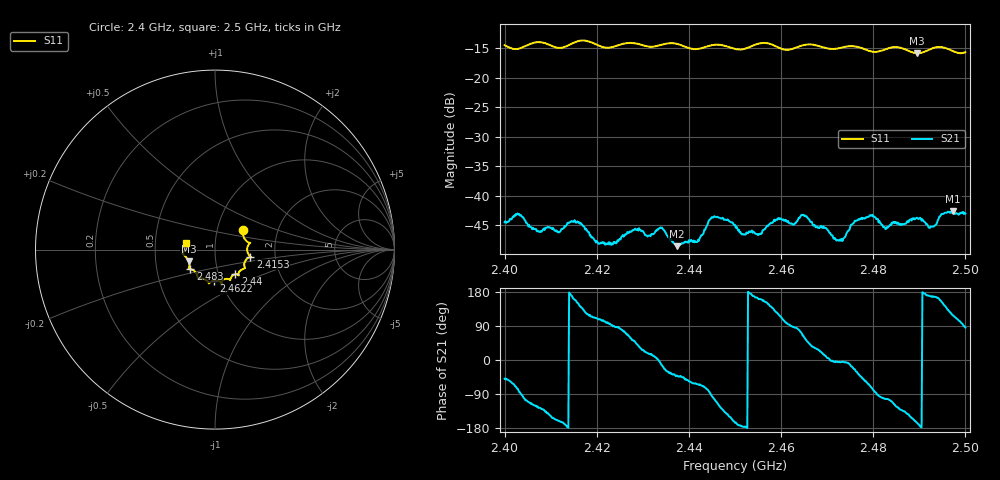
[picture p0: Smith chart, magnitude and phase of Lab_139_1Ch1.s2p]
# Hz S RI R 50
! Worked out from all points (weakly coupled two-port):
!   601 points, 2.4 GHz to 2.5 GHz, reference 50 ohm
!   highest |S21| = -42.66 dB at 2.4973 GHz (marker M1); lowest = -48.6 dB at 2.4373 GHz (marker M2)
!   lowest |S11| = -15.9 dB at 2.4895 GHz (marker M3), VSWR 1.38, Z = 36.9 - j5 ohm
!   |S11| at or under -10 dB: start of sweep to end of sweep
!   S12 and S22 are empty: the file has one direction only
!   S11 on the Smith chart (normalised r, x): 2.4 GHz: 1.33, +0.29; 2.4153 GHz: 1.48, -0.12; 2.44 GHz: 1.20, -0.34; 2.4622 GHz: 0.93, -0.33; 2.483 GHz: 0.74, -0.17; 2.5 GHz: 0.72, +0.06
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2.4e9  0.1553 0.1066  0.00386 -0.00455  0 0  0 0
2.403e9  0.1652 0.0598  0.00124 -0.00682  0 0  0 0
2.4115e9  0.1792 0.00668  -0.00467 -0.00175  0 0  0 0
2.415333e9  0.1962 -0.0386  -0.00563 0.00225  0 0  0 0
2.416667e9  0.2019 -0.0427  -0.00427 0.00382  0 0  0 0
2.422e9  0.1677 -0.0646  -0.000628 0.00388  0 0  0 0
2.433333e9  0.1311 -0.1335  0.00516 5.95e-05  0 0  0 0
2.437333e9  0.1312 -0.1425  0.00281 -0.00246  0 0  0 0
2.44e9  0.114 -0.1367  0.00232 -0.00351  0 0  0 0
2.445333e9  0.0847 -0.1694  -0.0012 -0.00643  0 0  0 0
2.45e9  0.0646 -0.1629  -0.00548 -0.00144  0 0  0 0
2.455167e9  0.0366 -0.191  -0.00446 0.00157  0 0  0 0
2.462167e9  -0.00736 -0.1739  4.2e-05 0.00582  0 0  0 0
2.466667e9  -0.0344 -0.1878  0.00488 0.00352  0 0  0 0
2.4725e9  -0.0752 -0.1607  0.00414 -0.000416  0 0  0 0
2.479333e9  -0.1054 -0.1303  0.00249 -0.00638  0 0  0 0
2.483e9  -0.1377 -0.1095  -0.00122 -0.00529  0 0  0 0
2.483333e9  -0.1401 -0.1093  -0.00135 -0.0053  0 0  0 0
2.4895e9  -0.1466 -0.066  -0.0063 -0.00162  0 0  0 0
2.492667e9  -0.1737 -0.0295  -0.00533 0.00125  0 0  0 0
2.497333e9  -0.1675 -0.00257  -0.00338 0.00654  0 0  0 0
2.5e9  -0.1594 0.0393  0.00057 0.00703  0 0  0 0
